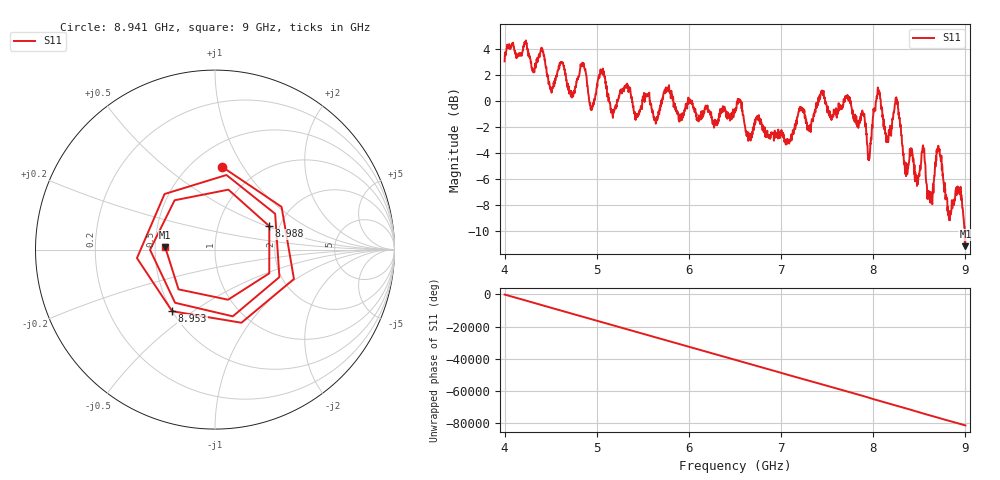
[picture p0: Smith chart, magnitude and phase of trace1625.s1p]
! Created with skrf 1.8.0 (http://scikit-rf.org).
# Hz S RI R 50.0
!freq ReS11 ImS11
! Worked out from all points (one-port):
!   1601 points, 4 GHz to 9 GHz, reference 50 ohm
!   lowest |S11| = -11.1 dB at 9 GHz (marker M1), VSWR 1.77, Z = 28.3 + j0.808 ohm
!   |S11| at or under -10 dB: 8.991955 GHz to end of sweep
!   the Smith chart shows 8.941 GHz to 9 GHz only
!   S11 on the Smith chart (normalised r, x): 8.941 GHz: 0.70, +0.81; 8.953 GHz: 0.50, -0.42; 8.988 GHz: 1.77, +0.52; 9 GHz: 0.57, +0.02
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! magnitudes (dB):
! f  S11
! 4 GHz  3.1
! 4.406 GHz  3.9
! 4.512 GHz  0.7
! 4.625 GHz  2.9
! 4.734 GHz  0.3
! 4.85 GHz  2.7
! 4.944 GHz  -0.5
! 5.056 GHz  2.2
! 5.169 GHz  -0.7
! 5.25 GHz  0.6
! 5.875 GHz  -0.9
! 6.5 GHz  -0.9
! 7.125 GHz  -2.5
! 7.438 GHz  0.8
! 7.75 GHz  -0.2
! 7.956 GHz  -4.4
! 8.05 GHz  1.1
! 8.156 GHz  -3.1
! 8.253 GHz  0.1
! 8.375 GHz  -5.2
! 8.541 GHz  -3.4
! 8.619 GHz  -7.0
! 8.712 GHz  -3.8
! 8.822 GHz  -9.1
! 8.941 GHz  -6.7
! 8.953 GHz  -7.6
! 8.988 GHz  -9.6
! 9 GHz  -11.1
